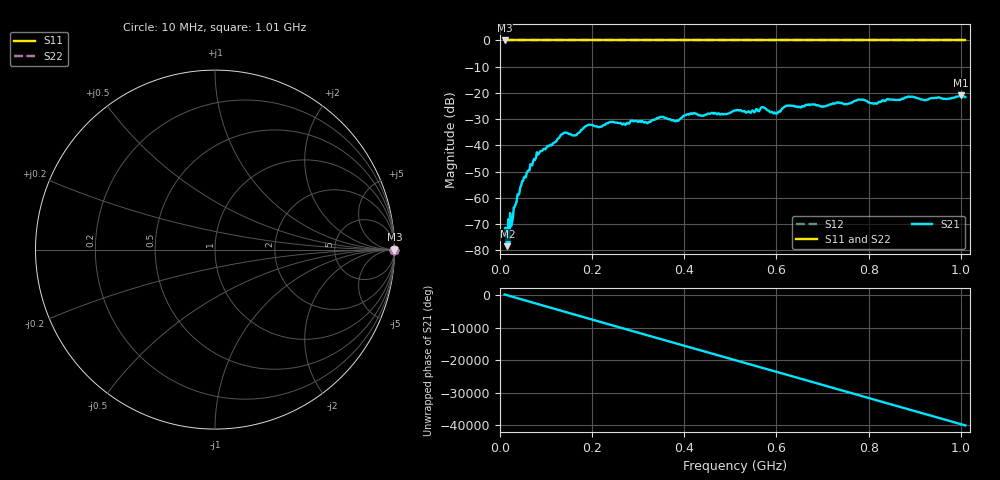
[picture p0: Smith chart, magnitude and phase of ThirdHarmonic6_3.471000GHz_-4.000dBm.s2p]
! 8/17/2025 11:15:43 AM
! C:\ANRITSUVNA\TEMP\TEMP.S2P
! CHANNEL.1
! TR.MEASUREMENT
! RAW.DATA
! RF.CORRECTION.OFF
! AVERAGING.OFF
! IF.BANDWIDTH: 5KHZ
! SWEEPTYPE:  FREQ.SWEEP(Linear)
! Reference Plane Port Info
! PORT:  PORT1  PORT2
! DISTANCE:  0  m  0  m
! TIME:  0  s  0  s
! PHASE.OFFSET:  0  deg.  0  deg.
! LOSS:  0  dB  0  dB
! REF.LOSS:  0  dB  0  dB
! REF.FREQ:  0  Hz  0  Hz
! Power Info
! POWER:  -20  dBm  -20  dBm
! EFF.POWER:  -20  dBm  -20  dBm
! SOURCE.ATTEN:  0  dB  0  dB
! TEST.ATTEN:  0  dB  0  dB
# GHZ S RI R 50.0
! FREQ.GHZ  S11RE  S11IM  S21RE  S21IM  S12RE  S12IM  S22RE  S22IM
!; PortSelection: Port_12
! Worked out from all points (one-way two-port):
!   501 points, 10 MHz to 1.01 GHz, reference 50 ohm
!   highest |S21| = -20.90 dB at 1 GHz (marker M1); lowest = -78.4 dB at 16 MHz (marker M2)
!   lowest |S11| = 0.0 dB at 10 MHz (marker M3)
!   |S11| at or under -10 dB: nowhere
!   |S22| runs from 0.0 to 0.0 dB; largest |S21 - S12| = 1.1
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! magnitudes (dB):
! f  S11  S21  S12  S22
! 10 MHz  0.0  -74.5  0.0  0.0
! 16 MHz  0.0  -78.4  0.0  0.0
! 48 MHz  0.0  -53.6  0.0  0.0
! 84 MHz  0.0  -43.2  0.0  0.0
! 136 MHz  0.0  -35.7  0.0  0.0
! 162 MHz  0.0  -36.2  0.0  0.0
! 178 MHz  0.0  -33.9  0.0  0.0
! 192 MHz  0.0  -32.1  0.0  0.0
! 322 MHz  0.0  -31.2  0.0  0.0
! 344 MHz  0.0  -29.5  0.0  0.0
! 384 MHz  0.0  -30.7  0.0  0.0
! 410 MHz  0.0  -28.3  0.0  0.0
! 510 MHz  0.0  -26.7  0.0  0.0
! 570 MHz  0.0  -25.4  0.0  0.0
! 598 MHz  0.0  -27.8  0.0  0.0
! 624 MHz  0.0  -24.8  0.0  0.0
! 678 MHz  0.0  -24.4  0.0  0.0
! 780 MHz  0.0  -22.5  0.0  0.0
! 814 MHz  0.0  -23.9  0.0  0.0
! 844 MHz  0.0  -22.4  0.0  0.0
! 1 GHz  0.0  -20.9  0.0  0.0
! 1.01 GHz  0.0  -21.5  0.0  0.0
